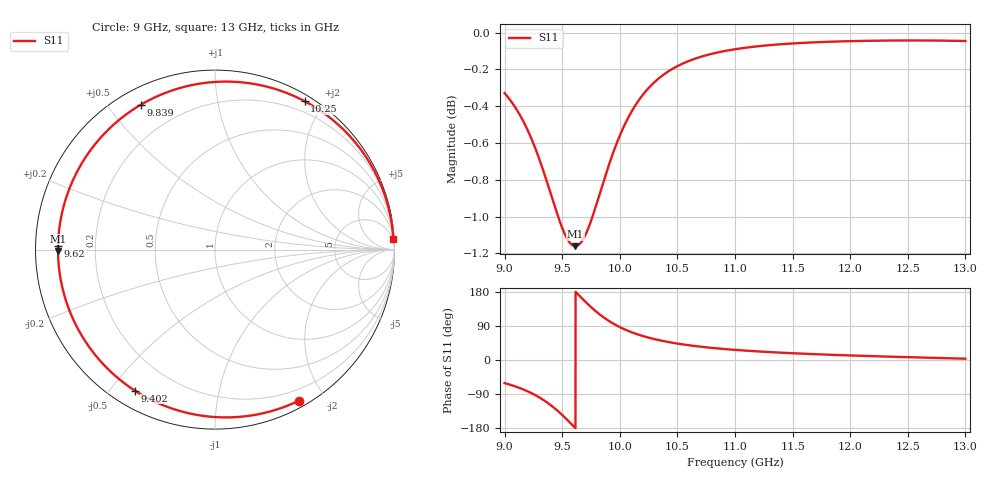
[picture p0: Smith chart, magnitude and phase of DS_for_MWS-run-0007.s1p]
! TOUCHSTONE file generated by CST DESIGN STUDIO
! Date and time: Tue Feb  4 17:16:59 2025
! Project name: C:\Work\MatlabApps\UnitCellOptimizationMatlab\CST\unitcell.cst
! Tree item: Tasks\Sweep1\SPara1\S-Parameters
! Header version: 2024
! Port assignment regex: !\s*Touchstone port\s*([0-9]+)\s*=\s*(CST MWS port|CST DES external port|CST DES block port)\s*(.+)\s* \(\"(.*)\"\)(\s*mode\s*([0-9]+))?.*
! Touchstone port assignment:
! Touchstone port 1 = CST DES external port 1 ("")
# GHz S MA R 50
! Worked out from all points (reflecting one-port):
!   4001 points, 9 GHz to 13 GHz, reference 50 ohm
!   lowest |S11| = -1.2 dB at 9.614 GHz (marker M1), VSWR 14.98, Z = 3.34 - j0.204 ohm
!   phase of S11 starts at -61 deg and turns -296 deg over the sweep
!   S11 on the Smith chart (normalised r, x): 9 GHz: 0.07, -1.69; 9.402 GHz: 0.07, -0.58; 9.62 GHz: 0.07, +0.01; 9.839 GHz: 0.07, +0.61; 10.25 GHz: 0.07, +1.77; 13 GHz: 3, +33
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9  0.9628 -61.0
9.052  0.9583 -65.7
9.124  0.9508 -73.1
9.186  0.9428 -80.8
9.247  0.9335 -89.6
9.33  0.9183 -104.1
9.402  0.9037 -119.6
9.451  0.8937 -131.7
9.5  0.8849 -145.0
9.559  0.8773 -162.5
9.614  0.8749 -179.5
9.62  0.8749 178.6
9.676  0.878 161.2
9.738  0.8867 143.0
9.788  0.8962 129.5
9.839  0.9068 117.1
9.914  0.9222 101.4
10  0.9375 86.8
10.119  0.9537 71.4
10.251  0.966 58.9
10.367  0.9734 50.6
10.5  0.9792 43.3
10.72  0.9853 34.5
11  0.9897 26.7
11.5  0.9933 17.8
12  0.9947 12.0
12.5  0.9951 7.4
13  0.9948 3.5
